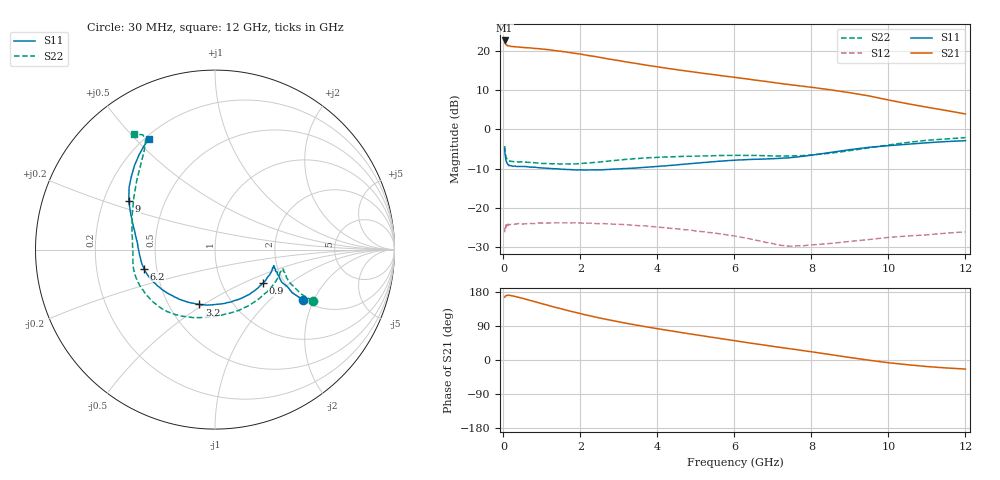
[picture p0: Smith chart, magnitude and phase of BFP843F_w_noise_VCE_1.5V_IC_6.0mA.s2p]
! Infineon Technologies  Discrete & RF Semiconductors
! BFP843F
! VCE =  1.5 V,  IC =  6.0 mA
! Common Emitter S-Parameters:  Aug 2013
# GHz  S  MA  R  50
!  f  S11  S21  S12  S22
! GHz  MAG  ANG  MAG  ANG  MAG  ANG  MAG  ANG
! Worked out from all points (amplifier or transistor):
!   103 points, 30 MHz to 12 GHz, reference 50 ohm
!   highest |S21| = 22.7 dB at 30 MHz (marker M1)
!   |S21| within 3 dB of that: start of sweep to 1.664 GHz
!   unconditionally stable (mu >= 1): 181.8 MHz to 623 MHz; 3.41 GHz to end of sweep
!   at 400 MHz: K = 1.00, MAG = 22.2 dB, |S12| = -24.0 dB
!   at 3.7 GHz: K = 1.02, MAG = 19.6 dB, |S12| = -24.6 dB
!   at 12 GHz: K = 1.45, MAG = 11.1 dB, |S12| = -26.1 dB
!   lowest NFmin = 0.80 dB at 450 MHz
!   S11 on the Smith chart (normalised r, x): 30 MHz: 2.02, -1.66; 900 MHz: 1.56, -0.65; 3.2 GHz: 0.71, -0.48; 6.2 GHz: 0.43, -0.11; 9 GHz: 0.31, +0.24; 12 GHz: 0.21, +0.55
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0.03  0.5661 -29.7  13.66 165.8  0.0486 31.3  0.6149 -27.7
0.04  0.4922 -29.2  12.96 166.4  0.0556 26.3  0.5404 -27.3
0.05  0.4551 -27.2  12.45 168.7  0.0554 24.9  0.4949 -25.6
0.07  0.3981 -24.4  12.07 169.8  0.0609 16.9  0.4462 -23.0
0.1  0.3697 -19.8  11.72 170.5  0.0577 10.8  0.4128 -19.1
0.15  0.3472 -17.2  11.64 170.8  0.0603 7.2  0.3973 -16.3
0.9  0.3258 -35.0  10.74 151.4  0.0641 -0.2  0.3733 -39.3
1.2  0.3181 -45.7  10.38 143.1  0.0642 -1.9  0.3653 -51.9
1.5  0.3109 -56.0  9.924 135.2  0.0642 -3.4  0.3619 -64.4
1.7  0.3079 -63.1  9.623 129.8  0.0641 -4.9  0.3627 -72.1
2.1  0.3032 -76.2  8.972 119.9  0.0636 -7.0  0.3706 -87.5
2.6  0.3064 -90.8  8.16 108.7  0.0629 -10.3  0.3894 -103.1
3.2  0.3173 -105.8  7.264 96.8  0.0611 -13.0  0.4158 -117.2
4.1  0.3413 -126.0  6.186 81.0  0.0563 -16.9  0.443 -132.4
5.1  0.3741 -145.9  5.277 64.9  0.0499 -19.4  0.4568 -147.3
6.1  0.4081 -163.2  4.561 49.5  0.0428 -20.5  0.467 -161.7
6.2  0.4088 -165.0  4.487 47.9  0.0419 -20.0  0.4668 -163.2
7.3  0.4311 176.7  3.805 31.7  0.0328 -9.9  0.4574 -179.4
8.5  0.5095 157.1  3.201 14.2  0.0351 6.6  0.498 158.1
9  0.5522 150.5  2.942 6.6  0.0373 10.5  0.5365 147.5
10.5  0.6477 133.9  2.129 -12.5  0.0437 17.0  0.6828 125.1
12  0.7184 120.9  1.576 -23.9  0.0494 22.8  0.786 125.0
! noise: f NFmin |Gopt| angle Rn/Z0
0.45  0.8  0.11  13  0.05
0.9  0.82  0.12  23  0.06
1.5  0.87  0.12  32  0.06
1.9  0.92  0.12  47  0.06
2.4  0.96  0.13  61  0.07
3.5  1.03  0.14  93  0.12
5.5  1.14  0.16  159  0.17
10  1.81  0.38  -122  0.23
